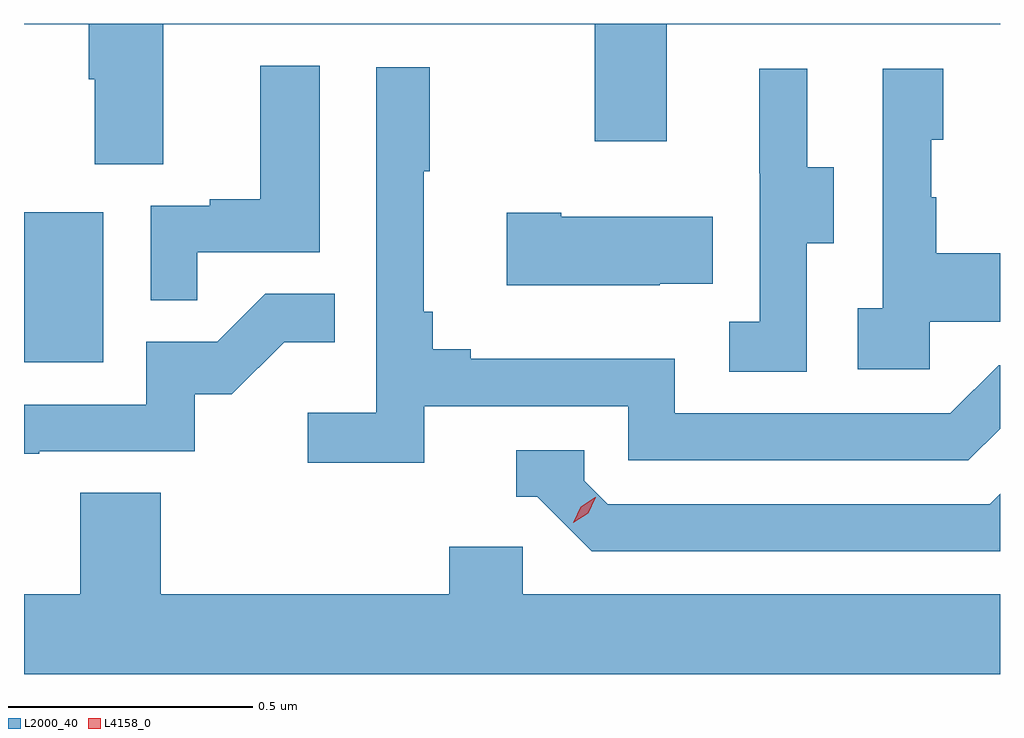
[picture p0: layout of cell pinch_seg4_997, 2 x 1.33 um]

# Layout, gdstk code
import gdstk
lib = gdstk.Library(unit=1e-6, precision=1e-09)
def R(c, l, rs):  # rectangles x0, y0, x1, y1
    for r in rs: c.add(gdstk.rectangle(r[:2], r[2:], *l))
def P(c, l, *ps):  # polygons
    for p in ps: c.add(gdstk.Polygon(p, *l))
L2000_40 = (2000, 40)
L4158_0 = (4158, 0)

pinch_seg4_997 = lib.new_cell('pinch_seg4_997')
R(pinch_seg4_997, L2000_40, [(876.166,784.14,876.328,784.447)])
P(pinch_seg4_997, L2000_40, [(876.451,784.832),(877.336,784.832),(877.336,784.593),(877.483,784.593),(877.483,784.832),(878.166,784.832),(878.166,784.834),(876.166,784.834),(876.166,784.832),(876.299,784.832),(876.299,784.72),(876.311,784.72),(876.311,784.546),(876.451,784.546)],
  [(876.521,784.365),(876.772,784.365),(876.772,784.747),(876.65,784.747),(876.65,784.474),(876.547,784.474),(876.547,784.461),(876.426,784.461),(876.426,784.267),(876.521,784.267)],
  [(876.986,784.05),(877.404,784.05),(877.404,783.939),(878.101,783.939),(878.166,784.004),(878.166,784.134),(878.163,784.134),(878.064,784.035),(877.5,784.035),(877.5,784.147),(877.081,784.147),(877.081,784.166),(877.004,784.166),(877.004,784.243),(876.985,784.243),(876.985,784.531),(876.997,784.531),(876.997,784.744),(876.888,784.744),(876.888,784.036),(876.747,784.036),(876.747,783.934),(876.986,783.934)],
  [(877.77,784.384),(877.825,784.384),(877.825,784.539),(877.771,784.539),(877.771,784.741),(877.673,784.741),(877.673,784.527),(877.674,784.527),(877.674,784.223),(877.611,784.223),(877.611,784.12),(877.77,784.12)],
  [(878.022,784.223),(878.166,784.223),(878.166,784.363),(878.035,784.363),(878.035,784.478),(878.025,784.478),(878.025,784.596),(878.05,784.596),(878.05,784.741),(877.926,784.741),(877.926,784.25),(877.875,784.25),(877.875,784.125),(878.022,784.125)],
  [(877.469,784.301),(877.577,784.301),(877.577,784.438),(877.267,784.438),(877.267,784.446),(877.155,784.446),(877.155,784.298),(877.469,784.298)],
  [(876.197,783.957),(876.516,783.957),(876.516,784.074),(876.592,784.074),(876.699,784.181),(876.803,784.181),(876.803,784.28),(876.66,784.28),(876.562,784.182),(876.417,784.182),(876.417,784.053),(876.166,784.053),(876.166,783.952),(876.197,783.952)],
  [(878.166,783.87),(878.145,783.849),(877.362,783.849),(877.314,783.897),(877.314,783.96),(877.175,783.96),(877.175,783.864),(877.218,783.864),(877.329,783.753),(878.166,783.753)],
  [(878.166,783.664),(877.188,783.664),(877.188,783.762),(877.037,783.762),(877.037,783.664),(876.446,783.664),(876.446,783.872),(876.281,783.872),(876.281,783.664),(876.166,783.664),(876.166,783.5),(878.166,783.5)])
P(pinch_seg4_997, L4158_0, [(877.291,783.811),(877.291,783.811),(877.307,783.844),(877.337,783.863),(877.338,783.863),(877.338,783.863),(877.322,783.83),(877.291,783.811)])

lib.write_gds('pinch_seg4_997.gds')
